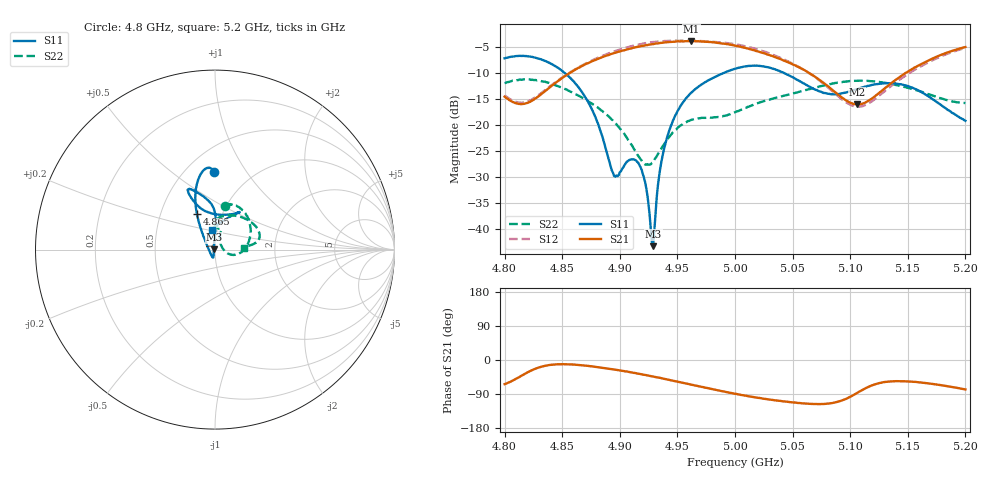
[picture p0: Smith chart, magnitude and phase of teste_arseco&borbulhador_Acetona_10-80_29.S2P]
! Network Analyzer HP8722D
! Hewlett-Packard
! Data name: Linha & Wilkinson
! Saver's name: Rodrigo Anjos
! Comments: Teste da utilização de aquisição
! continua pelo VNA HP8722D
! Time and date: 25/4/2025 15:30
!  Frequency  S11  S21  S12  S22
# HZ  S  MA R 50
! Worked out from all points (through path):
!   401 points, 4.8 GHz to 5.2 GHz, reference 50 ohm
!   highest |S21| = -3.96 dB at 4.962 GHz (marker M1); lowest = -16.1 dB at 5.106 GHz (marker M2)
!   lowest |S11| = -43.3 dB at 4.929 GHz (marker M3), VSWR 1.01, Z = 49.4 + j0.271 ohm
!   |S11| at or under -10 dB: 4.852 GHz to 4.991 GHz (139.3 MHz wide, 2.83 % of centre); 5.042 GHz to end of sweep
!   |S22| runs from -27.7 to -11.3 dB; largest |S21 - S12| = 1.2
!   S11 on the Smith chart (normalised r, x): 4.8 GHz: 0.68, +0.73; 4.865 GHz: 0.76, +0.32; 5.2 GHz: 0.94, +0.20
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4.8e9  0.4337 90.4  0.1858 -63.8  0.1907 69.8  0.2501 77.3
4.82e9  0.4527 96.7  0.1621 -32.5  0.1674 98.5  0.2714 61.5
4.845e9  0.3585 107.1  0.2558 -11.5  0.259 119.4  0.2371 34.4
4.865e9  0.2219 116.9  0.3541 -13.2  0.3586 120.8  0.1879 11.0
4.867e9  0.2064 118.1  0.3648 -14.0  0.3684 120.6  0.1824 8.5
4.88e9  0.1092 128.5  0.4242 -18.5  0.4334 118.2  0.1487 -5.5
4.895e9  0.03219 -170.5  0.4865 -25.0  0.5036 113.6  0.1062 -16.2
4.909e9  0.04624 -105.8  0.537 -32.2  0.5632 107.5  0.06694 -14.6
4.917e9  0.04099 -101.6  0.5635 -36.4  0.5894 103.4  0.04808 -1.9
4.922e9  0.02798 -104.7  0.5774 -39.5  0.6044 100.7  0.04143 16.7
4.927e9  0.009612 -134.9  0.5894 -42.5  0.6165 97.5  0.04177 37.5
4.929e9  0.006821 156.3  0.5931 -43.7  0.6214 96.4  0.04357 44.9
4.934e9  0.03134 99.0  0.6054 -46.8  0.6301 93.2  0.05428 58.6
4.939e9  0.06188 92.3  0.6152 -49.9  0.637 89.9  0.06613 66.2
4.945e9  0.1015 89.8  0.623 -53.9  0.6403 86.2  0.08145 69.9
4.962e9  0.2021 89.9  0.6338 -65.1  0.639 75.3  0.1111 71.7
5e9  0.3443 108.9  0.5738 -89.0  0.5929 50.8  0.1316 88.4
5.03e9  0.3526 115.0  0.4646 -104.4  0.4826 33.8  0.1737 85.4
5.067e9  0.2245 104.9  0.3004 -116.0  0.2986 23.5  0.2224 57.1
5.106e9  0.2187 64.2  0.1566 -86.9  0.1486 56.1  0.2635 24.8
5.134e9  0.2505 56.7  0.2419 -56.8  0.2275 88.6  0.2483 12.3
5.2e9  0.109 100.3  0.556 -77.6  0.5461 70.0  0.1611 3.8
